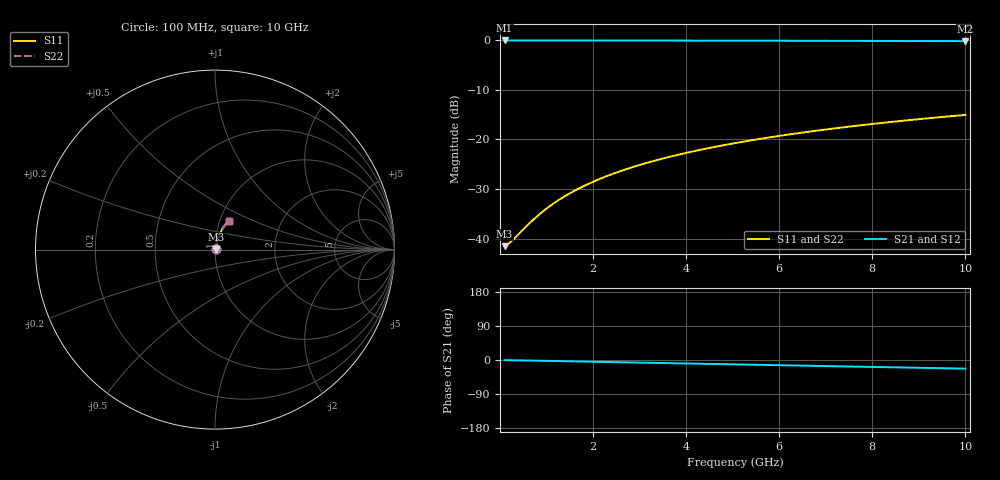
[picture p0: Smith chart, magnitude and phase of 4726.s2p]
# Hz S RI R 50.00
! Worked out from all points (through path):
!   100 points, 100 MHz to 10 GHz, reference 50 ohm
!   highest |S21| = -0.07 dB at 100 MHz (marker M1); lowest = -0.2 dB at 10 GHz (marker M2)
!   group delay of S21, straight-line fit = 6.33 ps
!   lowest |S11| = -41.5 dB at 100 MHz (marker M3), VSWR 1.02, Z = 50.8 + j0.183 ohm
!   |S11| at or under -10 dB: start of sweep to end of sweep
!   |S22| runs from -41.5 to -15.1 dB; largest |S21 - S12| = 0
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1e8  0.00825 0.0018  0.9917 -0.00398  0.9917 -0.00398  0.00825 0.0018
2e8  0.00833 0.00359  0.9917 -0.00795  0.9917 -0.00795  0.00833 0.00359
3e8  0.0084 0.00539  0.9916 -0.0119  0.9916 -0.0119  0.0084 0.00539
7e8  0.0088 0.0126  0.9911 -0.0278  0.9911 -0.0278  0.0088 0.0126
8e8  0.00892 0.0144  0.9909 -0.0318  0.9909 -0.0318  0.00892 0.0144
1e9  0.00922 0.0179  0.9905 -0.0397  0.9905 -0.0397  0.00922 0.0179
1.2e9  0.00957 0.0215  0.9901 -0.0477  0.9901 -0.0477  0.00957 0.0215
1.4e9  0.00997 0.0251  0.9895 -0.0556  0.9895 -0.0556  0.00997 0.0251
1.6e9  0.0104 0.0286  0.9889 -0.0635  0.9889 -0.0635  0.0104 0.0286
1.8e9  0.0109 0.0322  0.9883 -0.0714  0.9883 -0.0714  0.0109 0.0322
2.1e9  0.0118 0.0375  0.9871 -0.0833  0.9871 -0.0833  0.0118 0.0375
2.5e9  0.0132 0.0445  0.9853 -0.099  0.9853 -0.099  0.0132 0.0445
2.9e9  0.0147 0.0515  0.9832 -0.1147  0.9832 -0.1147  0.0147 0.0515
3.4e9  0.017 0.0602  0.9802 -0.1343  0.9802 -0.1343  0.017 0.0602
3.8e9  0.0191 0.067  0.9774 -0.1498  0.9774 -0.1498  0.0191 0.067
4.2e9  0.0214 0.0738  0.9743 -0.1653  0.9743 -0.1653  0.0214 0.0738
5.1e9  0.0273 0.0887  0.9664 -0.1999  0.9664 -0.1999  0.0273 0.0887
5.9e9  0.0334 0.1016  0.9581 -0.2302  0.9581 -0.2302  0.0334 0.1016
6.7e9  0.0403 0.114  0.9488 -0.26  0.9488 -0.26  0.0403 0.114
7.5e9  0.048 0.1259  0.9383 -0.2894  0.9383 -0.2894  0.048 0.1259
8.4e9  0.0575 0.1386  0.9254 -0.3218  0.9254 -0.3218  0.0575 0.1386
1e10  0.0763 0.1593  0.8993 -0.3774  0.8993 -0.3774  0.0763 0.1593
